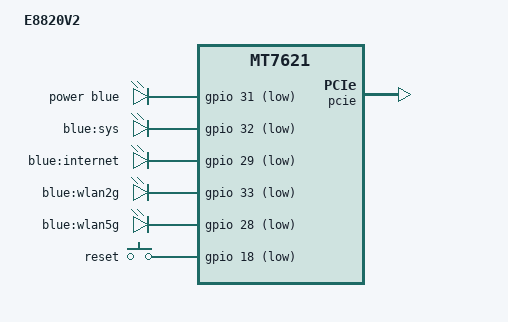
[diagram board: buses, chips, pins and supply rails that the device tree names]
/dts-v1/;

#include "mt7621.dtsi"
#include <dt-bindings/input/input.h>
#include "mt7621-spi-16m-layout.dtsi"
#include "mt7621-raeth-gmac2.dtsi"
#include "mt7621-pinctrl-default-gpio.dtsi"

/ {
	compatible = "mediatek,mt7621-soc";
	model = "E8820V2";

	chosen {
		bootargs = "console=ttyS0,115200";
	};

	leds {
		compatible = "gpio-leds";

		power {
			function = LED_FUNCTION_POWER;
			color = <LED_COLOR_ID_BLUE>;
			gpios = <&gpio 31 GPIO_ACTIVE_LOW>;
			default-state = "on";
		};

		led_sys: sys {
			label = "blue:sys";
			gpios = <&gpio 32 GPIO_ACTIVE_LOW>;
		};

		internet {
			label = "blue:internet";
			gpios = <&gpio 29 GPIO_ACTIVE_LOW>;
		};

		wlan2g {
			label = "blue:wlan2g";
			gpios = <&gpio 33 GPIO_ACTIVE_LOW>;
			linux,default-trigger = "phy0tpt";
		};

		wlan5g {
			label = "blue:wlan5g";
			gpios = <&gpio 28 GPIO_ACTIVE_LOW>;
			linux,default-trigger = "phy1tpt";
		};
	};

	keys {
		compatible = "gpio-keys";

		reset {
			label = "reset";
			gpios = <&gpio 18 GPIO_ACTIVE_LOW>;
			linux,code = <KEY_RESTART>;
		};
	};
};

&pcie {
	status = "okay";
};
